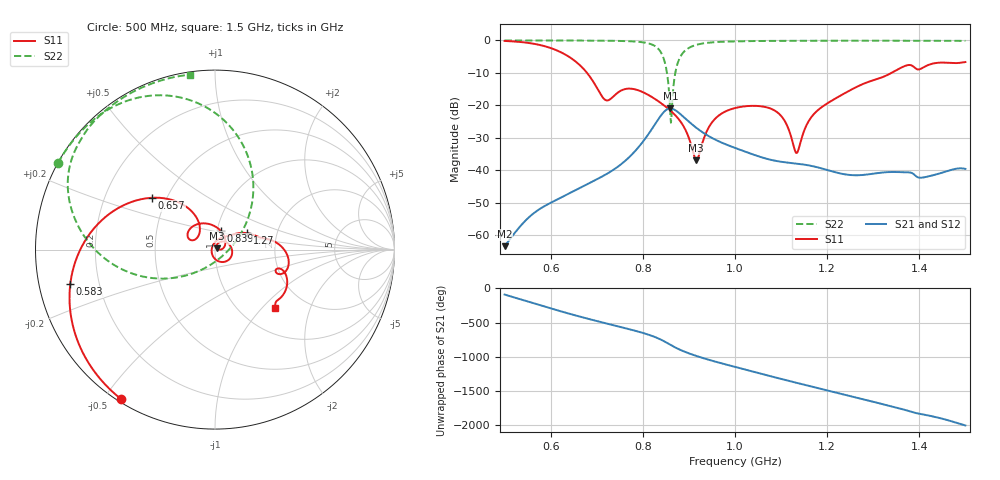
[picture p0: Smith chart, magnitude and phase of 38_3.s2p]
! TOUCHSTONE file generated by CST MICROWAVE STUDIO
! Date and time: Fri Oct 30 08:05:19 2020
! Project name: Scenario_1_Circular_Tissue_out_of_Line.cst
! Parameters = {dy1=295.617; L_HA=400; MT=2.54; Rad_Dielectric=30; Rad_Lower=7.3; Rad_Upper=30; a_HA=580; a_WG=246; b_HA=500; b_WG=121; c_HA=0; c_WG=187; d_feed=85; dx1=520; h_feed=15; h_lower=18; h_upper=40}
! Header version: 2018
! Port assignment regex: !\s*Touchstone port\s*([0-9]+)\s*=\s*(CST MWS port|CST DS port)\s*([0-9]+|Zmin|Zmax)\s*\(\"(.*)\"\)(\s*mode\s*([0-9]+))?.*
! Touchstone port assignment:
! Touchstone port 1 = CST MWS port 1 ("")
! Touchstone port 2 = CST MWS port 2 ("")
# GHz S DB R 50
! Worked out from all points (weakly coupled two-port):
!   1001 points, 500 MHz to 1.5 GHz, reference 50 ohm
!   highest |S21| = -20.97 dB at 860 MHz (marker M1); lowest = -63.4 dB at 500 MHz (marker M2)
!   lowest |S11| = -36.9 dB at 916 MHz (marker M3), VSWR 1.03, Z = 51.2 + j0.749 ohm
!   |S11| at or under -10 dB: 678.8 MHz to 1.34 GHz (660.7 MHz wide, 65.5 % of centre)
!   |S22| runs from -25.3 to 0.0 dB; largest |S21 - S12| = 0.0014
!   S11 on the Smith chart (normalised r, x): 500 MHz: 0.01, -0.55; 583 MHz: 0.09, -0.12; 657 MHz: 0.41, +0.30; 839 MHz: 1.04, +0.22; 1.27 GHz: 1.41, +0.27; 1.5 GHz: 1.43, -1.18
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0.5  -0.15 -122.3  -63.40 -88.6  -63.44 -88.6  -0.01 151.1
0.583  -1.63 -166.5  -51.34 104.4  -51.52 103.9  -0.02 145.4
0.657  -6.84 140.7  -45.90 -39.6  -45.77 -39.5  -0.04 139.4
0.667  -8.13 133.6  -45.18 -57.7  -45.07 -57.6  -0.04 138.4
0.719  -18.37 138.8  -41.35 -147.8  -41.39 -147.9  -0.09 132.6
0.792  -15.46 121.2  -32.66 86.1  -32.63 86.0  -0.45 117.1
0.834  -18.77 78.3  -24.20 -11.2  -24.32 -11.2  -2.65 87.5
0.839  -19.27 72.6  -23.19 -27.0  -23.32 -26.8  -3.62 80.1
0.85  -20.46 59.6  -21.48 -65.9  -21.60 -65.4  -8.14 57.0
0.86  -21.64 47.2  -20.97 -104.1  -21.03 -103.6  -23.58 -12.1
0.88  -24.66 20.9  -22.52 -173.3  -22.52 -173.4  -5.42 -168.6
0.916  -36.90 30.8  -26.91 94.3  -26.92 93.9  -1.37 161.7
0.951  -25.09 52.7  -30.13 22.9  -30.10 22.8  -0.59 149.8
1  -20.83 7.6  -33.12 -65.8  -33.12 -65.9  -0.30 140.8
1.09  -21.96 -60.2  -37.15 135.6  -37.13 136.0  -0.14 130.9
1.111  -25.62 -89.8  -37.60 99.4  -37.59 99.6  -0.12 129.0
1.133  -34.67 177.1  -37.95 62.0  -37.95 62.0  -0.11 127.2
1.167  -23.39 65.7  -38.70 5.2  -38.71 5.1  -0.10 124.4
1.27  -13.91 27.0  -41.52 -165.9  -41.51 -166.2  -0.08 116.6
1.334  -10.41 11.1  -40.56 86.4  -40.57 86.4  -0.09 111.7
1.404  -8.68 -16.5  -42.30 -34.1  -42.29 -34.1  -0.10 106.2
1.5  -6.65 -44.0  -39.58 158.2  -39.58 158.2  -0.13 98.2
